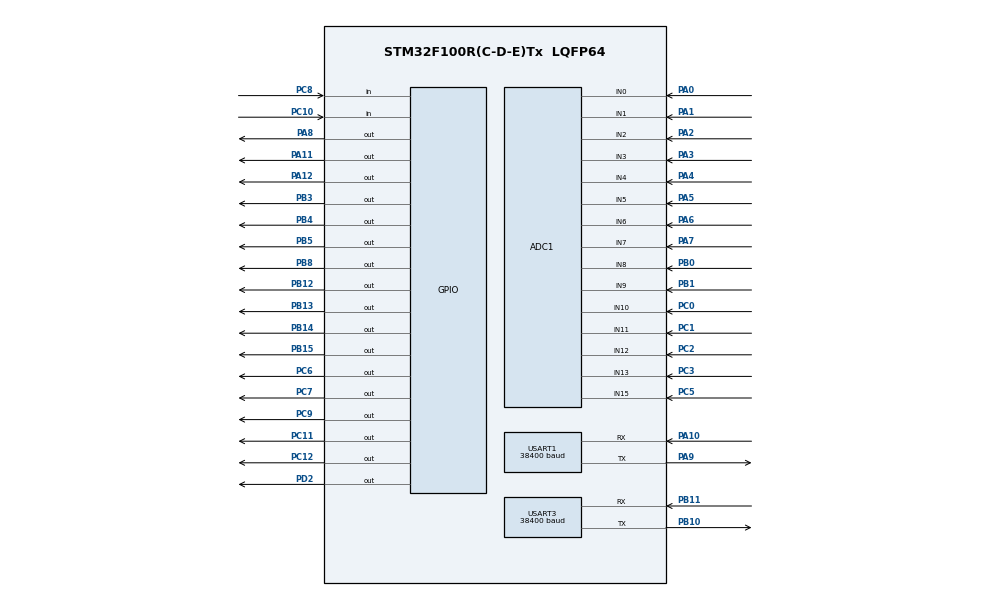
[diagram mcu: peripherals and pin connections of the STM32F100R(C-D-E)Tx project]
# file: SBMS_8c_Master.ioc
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ADC1.Channel-0\#ChannelRegularConversion=ADC_CHANNEL_0
ADC1.Channel-1\#ChannelRegularConversion=ADC_CHANNEL_1
ADC1.Channel-10\#ChannelRegularConversion=ADC_CHANNEL_10
ADC1.Channel-11\#ChannelRegularConversion=ADC_CHANNEL_11
ADC1.Channel-12\#ChannelRegularConversion=ADC_CHANNEL_12
ADC1.Channel-13\#ChannelRegularConversion=ADC_CHANNEL_13
ADC1.Channel-14\#ChannelRegularConversion=ADC_CHANNEL_15
ADC1.Channel-15\#ChannelRegularConversion=ADC_CHANNEL_VREFINT
ADC1.Channel-2\#ChannelRegularConversion=ADC_CHANNEL_2
ADC1.Channel-3\#ChannelRegularConversion=ADC_CHANNEL_3
ADC1.Channel-4\#ChannelRegularConversion=ADC_CHANNEL_4
ADC1.Channel-5\#ChannelRegularConversion=ADC_CHANNEL_5
ADC1.Channel-6\#ChannelRegularConversion=ADC_CHANNEL_6
ADC1.Channel-7\#ChannelRegularConversion=ADC_CHANNEL_7
ADC1.Channel-8\#ChannelRegularConversion=ADC_CHANNEL_8
ADC1.Channel-9\#ChannelRegularConversion=ADC_CHANNEL_9
ADC1.ContinuousConvMode=ENABLE
ADC1.NbrOfConversion=16
ADC1.NbrOfConversionFlag=1
ADC1.Rank-0\#ChannelRegularConversion=1
ADC1.Rank-1\#ChannelRegularConversion=2
ADC1.Rank-10\#ChannelRegularConversion=11
ADC1.Rank-11\#ChannelRegularConversion=12
ADC1.Rank-12\#ChannelRegularConversion=13
ADC1.Rank-13\#ChannelRegularConversion=14
ADC1.Rank-14\#ChannelRegularConversion=15
ADC1.Rank-15\#ChannelRegularConversion=16
ADC1.Rank-2\#ChannelRegularConversion=3
ADC1.Rank-3\#ChannelRegularConversion=4
ADC1.Rank-4\#ChannelRegularConversion=5
ADC1.Rank-5\#ChannelRegularConversion=6
ADC1.Rank-6\#ChannelRegularConversion=7
ADC1.Rank-7\#ChannelRegularConversion=8
ADC1.Rank-8\#ChannelRegularConversion=9
ADC1.Rank-9\#ChannelRegularConversion=10
ADC1.SamplingTime-0\#ChannelRegularConversion=ADC_SAMPLETIME_239CYCLES_5
ADC1.SamplingTime-1\#ChannelRegularConversion=ADC_SAMPLETIME_239CYCLES_5
ADC1.SamplingTime-10\#ChannelRegularConversion=ADC_SAMPLETIME_239CYCLES_5
ADC1.SamplingTime-11\#ChannelRegularConversion=ADC_SAMPLETIME_239CYCLES_5
ADC1.SamplingTime-12\#ChannelRegularConversion=ADC_SAMPLETIME_239CYCLES_5
ADC1.SamplingTime-13\#ChannelRegularConversion=ADC_SAMPLETIME_239CYCLES_5
ADC1.SamplingTime-14\#ChannelRegularConversion=ADC_SAMPLETIME_239CYCLES_5
ADC1.SamplingTime-15\#ChannelRegularConversion=ADC_SAMPLETIME_239CYCLES_5
ADC1.SamplingTime-2\#ChannelRegularConversion=ADC_SAMPLETIME_239CYCLES_5
ADC1.SamplingTime-3\#ChannelRegularConversion=ADC_SAMPLETIME_239CYCLES_5
ADC1.SamplingTime-4\#ChannelRegularConversion=ADC_SAMPLETIME_239CYCLES_5
ADC1.SamplingTime-5\#ChannelRegularConversion=ADC_SAMPLETIME_239CYCLES_5
ADC1.SamplingTime-6\#ChannelRegularConversion=ADC_SAMPLETIME_239CYCLES_5
ADC1.SamplingTime-7\#ChannelRegularConversion=ADC_SAMPLETIME_239CYCLES_5
ADC1.SamplingTime-8\#ChannelRegularConversion=ADC_SAMPLETIME_239CYCLES_5
ADC1.SamplingTime-9\#ChannelRegularConversion=ADC_SAMPLETIME_239CYCLES_5
ADC1.master=1
Dma.ADC1.0.Direction=DMA_PERIPH_TO_MEMORY
Dma.ADC1.0.Instance=DMA1_Channel1
Dma.ADC1.0.MemDataAlignment=DMA_MDATAALIGN_HALFWORD
Dma.ADC1.0.MemInc=DMA_MINC_ENABLE
Dma.ADC1.0.Mode=DMA_CIRCULAR
Dma.ADC1.0.PeriphDataAlignment=DMA_PDATAALIGN_HALFWORD
Dma.ADC1.0.PeriphInc=DMA_PINC_DISABLE
Dma.ADC1.0.Priority=DMA_PRIORITY_LOW
Dma.Request0=ADC1
Mcu.Family=STM32F1
Mcu.Name=STM32F100R(C-D-E)Tx
Mcu.Package=LQFP64
NVIC.DMA1_Channel1_IRQn=true\:0\:0\:false\:false\:true\:false\:true\:true
NVIC.PriorityGroup=NVIC_PRIORITYGROUP_4
NVIC.TIM7_IRQn=true\:0\:0\:false\:false\:true\:true\:true\:true
NVIC.USART1_IRQn=true\:0\:0\:false\:false\:true\:true\:true\:true
NVIC.USART3_IRQn=true\:0\:0\:false\:false\:true\:true\:true\:true
PA0-WKUP.Signal=ADCx_IN0
PA1.Signal=ADCx_IN1
PA10.Mode=Asynchronous
PA10.Signal=USART1_RX
PA11.Signal=GPIO_Output
PA12.Signal=GPIO_Output
PA13.Mode=Serial_Wire
PA13.Signal=SYS_JTMS-SWDIO
PA14.Mode=Serial_Wire
PA14.Signal=SYS_JTCK-SWCLK
PA2.Signal=ADCx_IN2
PA3.Signal=ADCx_IN3
PA4.Signal=ADCx_IN4
PA5.Signal=ADCx_IN5
PA6.Signal=ADCx_IN6
PA7.Signal=ADCx_IN7
PA8.Signal=GPIO_Output
PA9.Mode=Asynchronous
PA9.Signal=USART1_TX
PB0.Signal=ADCx_IN8
PB1.Signal=ADCx_IN9
PB10.Mode=Asynchronous
PB10.Signal=USART3_TX
PB11.Mode=Asynchronous
PB11.Signal=USART3_RX
PB12.Signal=GPIO_Output
PB13.Signal=GPIO_Output
PB14.Signal=GPIO_Output
PB15.Signal=GPIO_Output
PB3.Signal=GPIO_Output
PB4.Signal=GPIO_Output
PB5.Signal=GPIO_Output
PB8.Signal=GPIO_Output
PC0.Signal=ADCx_IN10
PC1.Signal=ADCx_IN11
PC10.GPIO_PuPd=GPIO_PULLUP
PC10.Signal=GPIO_Input
PC11.Signal=GPIO_Output
PC12.Signal=GPIO_Output
PC2.Signal=ADCx_IN12
PC3.Signal=ADCx_IN13
PC5.Signal=ADCx_IN15
PC6.Signal=GPIO_Output
PC7.Signal=GPIO_Output
PC8.Signal=GPIO_Input
PC9.Signal=GPIO_Output
PD0-OSC_IN.Mode=HSE-External-Oscillator
PD0-OSC_IN.Signal=RCC_OSC_IN
PD1-OSC_OUT.Mode=HSE-External-Oscillator
PD1-OSC_OUT.Signal=RCC_OSC_OUT
PD2.Signal=GPIO_Output
ProjectManager.HeapSize=0x200
ProjectManager.StackSize=0x400
ProjectManager.TargetToolchain=STM32CubeIDE
RCC.AHBFreq_Value=24000000
RCC.APB1Freq_Value=24000000
RCC.APB1TimFreq_Value=24000000
RCC.APB2Freq_Value=24000000
RCC.APB2TimFreq_Value=24000000
RCC.HCLKFreq_Value=24000000
RCC.PLLMUL=RCC_PLL_MUL3
RCC.PLLSource=RCC_PLLSOURCE_HSE
RCC.SYSCLKFreq_VALUE=24000000
RCC.SYSCLKSource=RCC_SYSCLKSOURCE_PLLCLK
SH.ADCx_IN0.0=ADC1_IN0,IN0
SH.ADCx_IN1.0=ADC1_IN1,IN1
SH.ADCx_IN10.0=ADC1_IN10,IN10
SH.ADCx_IN11.0=ADC1_IN11,IN11
SH.ADCx_IN12.0=ADC1_IN12,IN12
SH.ADCx_IN13.0=ADC1_IN13,IN13
SH.ADCx_IN15.0=ADC1_IN15,IN15
SH.ADCx_IN2.0=ADC1_IN2,IN2
SH.ADCx_IN3.0=ADC1_IN3,IN3
SH.ADCx_IN4.0=ADC1_IN4,IN4
SH.ADCx_IN5.0=ADC1_IN5,IN5
SH.ADCx_IN6.0=ADC1_IN6,IN6
SH.ADCx_IN7.0=ADC1_IN7,IN7
SH.ADCx_IN8.0=ADC1_IN8,IN8
SH.ADCx_IN9.0=ADC1_IN9,IN9
TIM7.Period=10
TIM7.Prescaler=24000
TIM7.TIM_MasterOutputTrigger=TIM_TRGO_UPDATE
USART1.BaudRate=38400
USART1.VirtualMode=VM_ASYNC
USART3.BaudRate=38400
USART3.VirtualMode=VM_ASYNC
VP_ADC1_TempSens_Input.Mode=IN-TempSens
VP_ADC1_Vref_Input.Mode=IN-Vrefint
VP_TIM7_VS_ClockSourceINT.Mode=Enable_Timer
board=custom

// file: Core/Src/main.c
/* USER CODE BEGIN Header */
/**
  ******************************************************************************
  * @file           : main.c
  * @brief          : Main program body
  ******************************************************************************
  * @attention
  *
  * <h2><center>&copy; Copyright (c) 2021 STMicroelectronics.
  * All rights reserved.</center></h2>
  *
  * This software component is licensed by ST under BSD 3-Clause license,
  * the "License"; You may not use this file except in compliance with the
  * License. You may obtain a copy of the License at:
  *                        opensource.org/licenses/BSD-3-Clause
  *
  ******************************************************************************
  */
/* USER CODE END Header */
#include "main.h"

/* USER CODE BEGIN PM */
#define THRESHOLD2 1500 //Long pressing for buttons
#define THRESHOLD 20 //Debounce for buttons

#define TIMEOUT_OFF 3600 //Sec timeout when device shutdown if no press any button and current < 30mA
#define MIN_CURRENT_OFF 20  //mA

#define CELLS_MIN_VOLTAGE_TIMER_OFF_SEC 5 //sec

#define NUMBER_OF_CELLS 8 //Number of cells
#define MAX_NUMBERS_OF_LEVELS 5// 5 or 10 ..
#define LIFEPO4 1
#define LI_ION 0

#if LIFEPO4
#define MIN_VOLTAGE 280 //270
#define MAX_VOLTAGE 360//3.6v
#define RESISTANCE 10//mOm
#define VOLTAGE_95_PERCENT 335//3.30v
#define VOLTAGE_10_PERCENT 285 //2.85v
#define VOLTAGE_CHARGE_100_PERCENT 360//3.30v
#define VOLTAGE_CHARGE_10_PERCENT 325 //2.85v

#elif LI_ION
#define MIN_VOLTAGE 320//2.8v
#define MAX_VOLTAGE 420//3.6v
#define RESISTANCE 10//mOm
#define VOLTAGE_95_PERCENT 410//3.35v
#define VOLTAGE_10_PERCENT 330 //3.00v
#else
#define MIN_VOLTAGE 280//2.8v
#define MAX_VOLTAGE 365//3.6v
#define VOLTAGE_95_PERCENT 335//3.35v
#define VOLTAGE_10_PERCENT 300 //3.00v

#endif

/* USER CODE END PM */

void SystemClock_Config(void);
static void MX_GPIO_Init(void);
static void MX_ADC1_Init(void);
static void MX_USART1_UART_Init(void);
static void MX_DMA_Init(void);
static void MX_USART3_UART_Init(void);
static void MX_TIM7_Init(void);

/* USER CODE BEGIN 0 */
char Version[] = "SBMS 8c M V1.05";
uint8_t Version_BeforePoint = 1;
uint8_t Version_AfterPoint = 5;
uint8_t HW_Revision = 1;

volatile uint16_t Voltage95Percent;
volatile uint16_t Voltage10Percent;

volatile uint32_t  time_sec = 0;
volatile uint32_t  Timer_Sec = 0;
volatile uint32_t  TimerForReadyMeasurement_ms = 0;
volatile uint8_t  Status_Timer_Sec = 0;
volatile uint32_t  ChargeTimeSec = 0;
volatile uint32_t  DischargeTimeSec = 0;
volatile uint32_t  DischargeTimeSec_Previous = 0;
volatile uint32_t  PowerOffTimesec = 0;
volatile uint32_t  sec = 0;
volatile uint32_t  time_min = 0;
volatile uint32_t  time_hour = 0;
volatile uint32_t BatteryCapacityDischargeCurrent = 0;
volatile uint32_t BatteryCapacityDischargeCurrentAfterPOwerUp = 0;
volatile uint32_t BatteryCapacityCharge = 0;
int16_t i_LogItems=0;

volatile int32_t SumI1 = 0;
volatile int32_t SumI2 = 0;
volatile int32_t SumI3 = 0;
volatile int32_t SumU1 = 0;
volatile int32_t SumU2 = 0;
volatile int32_t SumU3 = 0;
volatile int32_t SumU4 = 0;
volatile int32_t SumU5 = 0;
volatile int32_t SumU6 = 0;
volatile int32_t SumU7 = 0;
volatile int32_t SumU8 = 0;

volatile int16_t SumI1Counter = 0;
volatile int16_t SumI2Counter = 0;
volatile int16_t SumI3Counter = 0;
volatile int16_t SumU1Counter = 0;
volatile int16_t SumU2Counter = 0;
volatile int16_t SumU3Counter = 0;
volatile int16_t SumU4Counter = 0;
volatile int16_t SumU5Counter = 0;
volatile int16_t SumU6Counter = 0;
volatile int16_t SumU7Counter = 0;
volatile int16_t SumU8Counter = 0;
volatile int32_t U_OUTtmp = 0;

void BUT_Debrief(void);
void init_timer6();
uint8_t BUT_GetKey(void);
void Output_OFF();
void Output_ON();
void adc_func();

volatile uint8_t On_off = 0;
volatile uint8_t ChargeStatusForTimer = 0;
volatile uint8_t DisChargeStatusForTimer = 0;
uint32_t ChargeDurationSec;
uint32_t SelectedOptionValue;
uint32_t SelectedOptionValue1;

typedef enum Key_Pressed {
    KEY_BACK=1,
    KEY_NEXT,
    KEY_OK,
    KEY_UP,
	KEY_ACTION
}Key_Pressed_t ;

Key_Pressed_t pressedKey = 0;

void OFF_Itself()
{
	if (EEpromSaveStatus == 0)
	{
		if (BatteryCapacityDischargeCurrent/3600 > 200)
		{
			//SaveData.BatteryCapacityDischargePreviousValue = BatteryCapacityDischargeCurrent;
			//EEpromWrite();
			logInfo("Data saved ");
		}
	}
	EEpromSaveStatus = 1;
	logInfo("OFF All System");
	delay_ms(100);
	GPIOA->BSRR =  GPIO_BSRR_BR11;//OFF CPU

}

void AllBalansirON()
{
	GPIOC->BSRR = GPIO_BSRR_BS7;//Battery 1 Balansir ON
	GPIOC->BSRR = GPIO_BSRR_BS6;//Battery 2 Balansir ON
	GPIOB->BSRR = GPIO_BSRR_BS15;//Battery 3 Balansir ON
	GPIOB->BSRR = GPIO_BSRR_BS14;//Battery 4 Balansir ON
	GPIOB->BSRR = GPIO_BSRR_BS13;//Battery 5 Balansir ON
	GPIOB->BSRR = GPIO_BSRR_BS12;//Battery 6 Balansir ON
	GPIOB->BSRR = GPIO_BSRR_BS8;//Battery 7 Balansir ON
	GPIOB->BSRR = GPIO_BSRR_BS5;//Battery 8 Balansir ON

}
void AllBalansirOFF()
{
	GPIOC->BSRR = GPIO_BSRR_BR7;//Battery 1 Balansir OFF
	GPIOC->BSRR = GPIO_BSRR_BR6;//Battery 2 Balansir OFF
	GPIOB->BSRR = GPIO_BSRR_BR15;//Battery 3 Balansir OFF
	GPIOB->BSRR = GPIO_BSRR_BR14;//Battery 4 Balansir OFF
	GPIOB->BSRR = GPIO_BSRR_BR13;//Battery 5 Balansir OFF
	GPIOB->BSRR = GPIO_BSRR_BR12;//Battery 6 Balansir OFF
	GPIOB->BSRR = GPIO_BSRR_BR8;//Battery 7 Balansir OFF
	GPIOB->BSRR = GPIO_BSRR_BR5;//Battery 8 Balansir OFF
}

#define DEBAUNCE 3  //3 - 30mV
#define DEBAUNCE_FAIL 2 //1 - 10mV
void Balansir_handler()
{
	if(CellsDatabase[0].Voltage>(MAX_VOLTAGE+DEBAUNCE)) GPIOC->BSRR = GPIO_BSRR_BS7;//Battery 1 Balansir ON
	if(CellsDatabase[0].Voltage<(MAX_VOLTAGE-1)) GPIOC->BSRR = GPIO_BSRR_BR7;//Battery 1 Balansir OFF

	if(CellsDatabase[1].Voltage>(MAX_VOLTAGE+DEBAUNCE)) GPIOC->BSRR = GPIO_BSRR_BS6;//Battery 2 Balansir ON
	if(CellsDatabase[1].Voltage<(MAX_VOLTAGE-1)) GPIOC->BSRR = GPIO_BSRR_BR6;//Battery 2 Balansir OFF

	if(CellsDatabase[2].Voltage>(MAX_VOLTAGE+DEBAUNCE)) GPIOB->BSRR = GPIO_BSRR_BS15;//Battery 3 Balansir ON
	if(CellsDatabase[2].Voltage<(MAX_VOLTAGE-1)) GPIOB->BSRR = GPIO_BSRR_BR15;//Battery 3 Balansir OFF

	if(CellsDatabase[3].Voltage>(MAX_VOLTAGE+DEBAUNCE)) GPIOB->BSRR = GPIO_BSRR_BS14;//Battery 4 Balansir ON
	if(CellsDatabase[3].Voltage<(MAX_VOLTAGE-1)) GPIOB->BSRR = GPIO_BSRR_BR14;//Battery 4 Balansir OFF

	if(CellsDatabase[4].Voltage>(MAX_VOLTAGE+DEBAUNCE)) GPIOB->BSRR = GPIO_BSRR_BS13;//Battery 5 Balansir ON
	if(CellsDatabase[4].Voltage<(MAX_VOLTAGE-1)) GPIOB->BSRR = GPIO_BSRR_BR13;//Battery 5 Balansir OFF

	if(CellsDatabase[5].Voltage>(MAX_VOLTAGE+DEBAUNCE)) GPIOB->BSRR = GPIO_BSRR_BS12;//Battery 6 Balansir ON
	if(CellsDatabase[5].Voltage<(MAX_VOLTAGE-1)) GPIOB->BSRR = GPIO_BSRR_BR12;//Battery 6 Balansir OFF

	if(CellsDatabase[6].Voltage>(MAX_VOLTAGE+DEBAUNCE)) GPIOB->BSRR = GPIO_BSRR_BS8;//Battery 7 Balansir ON
	if(CellsDatabase[6].Voltage<(MAX_VOLTAGE-1)) GPIOB->BSRR = GPIO_BSRR_BR8;//Battery 7 Balansir OFF

	if(CellsDatabase[7].Voltage>(MAX_VOLTAGE+DEBAUNCE)) GPIOB->BSRR = GPIO_BSRR_BS5;//Battery 8 Balansir ON
	if(CellsDatabase[7].Voltage<(MAX_VOLTAGE-1)) GPIOB->BSRR = GPIO_BSRR_BR5;//Battery 8 Balansir OFF

	volatile uint8_t i = 0;
	volatile uint8_t RestoreVoltageBeforeUmax  = 0;
	for(i=0;i<ID_MAX_COUNT;i++)
	{
		if(CellsDatabase[i].Voltage>(MAX_VOLTAGE+DEBAUNCE+DEBAUNCE_FAIL))
		{
			Output_OFF();
			OverChargeStatus=1;
			logDebugD("OverCharge B",i+1,0);
		}
		if(CellsDatabase[i].Voltage <= (MAX_VOLTAGE))
		{
			RestoreVoltageBeforeUmax++;
		}

	}

	if((OverChargeStatus==1)&&(RestoreVoltageBeforeUmax == i)&&(OverDisChargeStatus==0)&&(CurrentShortStatus==0))
	{
		Output_ON();
		OverChargeStatus=0;
		logDebug("No OverCharge - Output_ON");
	}

}
void MinVoltage_handler()
{
	volatile uint8_t i = 0;
	volatile uint8_t RestoreVoltageonCells = 0;
	for(i=0;i<ID_MAX_COUNT;i++)
	{
		//logDebugD("i ",i+1,0);
		//logDebugD("CellsDatabase[i].Voltage ",CellsDatabase[i].Voltage,2);
		//logDebugD("Res ",(RESISTANCE*Module32(Battery.Current))/1000,2);
		//logDebugD("xxx ",(MIN_VOLTAGE - (RESISTANCE*Module32(Battery.Current))/1000),2);
		if(CellsDatabase[i].Voltage < (MIN_VOLTAGE - (RESISTANCE*Module32(Battery.Current))/1000))
		{
			if(CellsDatabase[i].BatVoltLowerMin_Status==0)
			{
				CellsDatabase[i].TimeSec = time_sec;
				CellsDatabase[i].BatVoltLowerMin_Status=1;
			}
		}
		else
		{
			CellsDatabase[i].BatVoltLowerMin_Status=0;
			RestoreVoltageonCells++;
		}

		if (CellsDatabase[i].BatVoltLowerMin_Status==1)
			if((time_sec-CellsDatabase[i].TimeSec)>CELLS_MIN_VOLTAGE_TIMER_OFF_SEC)
			{
				OverDisChargeStatus = 1;
				Output_OFF();
				Battery.BatteryLevel = LOW_BATTERY;
				logDebugD("OFF. Min voltage ",i+1,0);
			}
	}

	if((OverDisChargeStatus==1)&&(RestoreVoltageonCells==i)&&(OverChargeStatus==0)&&(CurrentShortStatus==0))
	{
		Output_ON();
		OverDisChargeStatus=0;
		Battery.BatteryLevel = BATTERY_OK;
		logDebugD("ON. B V > min V ",i+1,0);
	}
}
void OffByTimeOutIfNoAction_handler()
{
	if(PowerOffTimesec>TIMEOUT_OFF)
	{
		OFF_Itself();
	}
}

void RestoreAfterCurrentShort()
{
	if (CurrentShortStatus==1)
		CurrentShortTimer++;
	if ((CurrentShortTimer>5)&&(OverChargeStatus==0)&&(OverDisChargeStatus==0))
	{
		Output_ON();
		CurrentShortTimer=0;
		CurrentShortStatus = 0;
	}

}

uint8_t flash = 1;
uint32_t FlashVoltage =0 ;
int32_t step;
void VoltageLevelByLEDFlash()
{

   if (Battery.Voltage <= ID_MAX_COUNT*MIN_VOLTAGE) GPIOB->BSRR =  GPIO_BSRR_BR3;//LED OFF always
   else
   {
    	step =(10*ID_MAX_COUNT*(Voltage95Percent - Voltage10Percent))/100;//~30
		if (Battery.Voltage*10>FlashVoltage)
		{
			GPIOB->BSRR =  GPIO_BSRR_BS3;
		}else
		{
			GPIOB->BSRR =  GPIO_BSRR_BR3;
		}
		FlashVoltage = FlashVoltage+step;
		if (FlashVoltage>Voltage95Percent*ID_MAX_COUNT*10) FlashVoltage=Voltage10Percent*ID_MAX_COUNT*10;
   }

}

int16_t comp = 0;
void BUT_Debrief(void)
{
	Key_Pressed_t key;

	if (!LL_GPIO_IsInputPinSet(GPIOC, LL_GPIO_PIN_10))
		key = KEY_ACTION;
	//else if (!LL_GPIO_IsInputPinSet(GPIOB,LL_GPIO_PIN_5))
	//	key = KEY_NEXT;
	//else if (!LL_GPIO_IsInputPinSet(GPIOB,LL_GPIO_PIN_6))
	//	key = KEY_BACK;

	else
	{
		key = 0;
	}

	if (key)
	{
		if (comp > THRESHOLD2)
		{
			comp = THRESHOLD2 - 40;
			pressedKey = key;
			return;
		}
		else comp++;

		if (comp == THRESHOLD)
			{
			pressedKey = key;
			return;
		}
	}
	else comp=0;
}

Key_Pressed_t BUT_GetKey(void)
{
	if (pressedKey) PowerOffTimesec=0;
	Key_Pressed_t key = pressedKey;
	pressedKey = 0;
	return key;
}

void Start_Timer_sec()
{
	Timer_Sec = 0;
	Status_Timer_Sec = 1;
}
void ReStart_Timer_sec()
{
	Timer_Sec = 0;
	Status_Timer_Sec = 1;
}
void Stop_Timer_sec()
{

	Status_Timer_Sec = 0;

}

void SysTick_Callback()//1 mc
{
	BUT_Debrief();
	TimerForReadyMeasurement_ms++;

	//5mc
	if (Count5mSecond >= 5)
	{
		Count5mSecond = 0;

		adc_func();

	}
	//10mc
	if (Count10mSecond >= 10)
	{
		Count10mSecond = 0;
		VoltageLevelByLEDFlash();

	}
	//100mc
	if (Count100mSecond >= 100)
	{
		Count100mSecond = 0;

		if (Module16( Battery.Current) > 0  || OverChargeStatus == 1 )
			PowerOffTimesec = 0;
	}
	//1000mc  1c
	if (Count1000mSecond >= 1000)
	{
		Count1000mSecond = 0;

		OffByTimeOutIfNoAction_handler();
		PowerOffTimesec++;

		if (time_sec < 4)
			AllBalansirON();
		else
			Balansir_handler();

		MinVoltage_handler();

		if (Current < 2)
			BatteryCapacityDischargeCurrent = BatteryCapacityDischargeCurrent + Module16(Current);
		if (Current > 2)
			BatteryCapacityCharge = BatteryCapacityCharge + Module16(Current);
		if (ChargeStatusForTimer == 1)
			ChargeTimeSec++;
		if (DisChargeStatusForTimer == 1)
			DischargeTimeSec++;
		//Global timer
		if (Status_Timer_Sec == 1)
			Timer_Sec++;
		time_sec++;

		//if (time_sec%2==0) GPIOB->BSRR =  GPIO_BSRR_BS4;// Battery level
		//else GPIOB->BSRR =  GPIO_BSRR_BR4;

		if (Battery.BatteryLevel == LOW_BATTERY)
		{
			//if (time_sec%2==0) GPIOB->BSRR =  GPIO_BSRR_BS6;//Fault
			//else GPIOB->BSRR =  GPIO_BSRR_BR6;

			GPIOD->BSRR =  GPIO_BSRR_BS2;//Fault
		}
		else
		{
			GPIOD->BSRR =  GPIO_BSRR_BR2;
		}

		if (OverChargeStatus == 1)
		{
			GPIOD->BSRR =  GPIO_BSRR_BS2;//Fault
		}else
		{
			GPIOD->BSRR =  GPIO_BSRR_BR2;
		}

		//if (time_sec%2==0) GPIOB->BSRR =  GPIO_BSRR_BS7;//Charge/ Discharge
		//else GPIOB->BSRR =  GPIO_BSRR_BR7;

		//if (time_sec%2==0) GPIOB->BSRR =  GPIO_BSRR_BS8;
		//else GPIOB->BSRR =  GPIO_BSRR_BR8;

		//if (time_sec%10==0) Output_ON();
		//if (time_sec%15==0) Output_OFF();

		if (Battery.Current>2)
		{
			Voltage95Percent = VOLTAGE_CHARGE_100_PERCENT;
			Voltage10Percent = VOLTAGE_CHARGE_10_PERCENT;
		}
		else
		{
			Voltage95Percent = VOLTAGE_95_PERCENT;
			Voltage10Percent = VOLTAGE_10_PERCENT;
		}
	}
	Count5mSecond++;
	Count10mSecond++;
	Count100mSecond++;
	Count1000mSecond++;
}

void adc_func()
{
	  /**ADC1 GPIO Configuration
	  PC0   ------> ADC1_IN10 b8
	  PC1   ------> ADC1_IN11 b7
	  PC2   ------> ADC1_IN12 b6
	  PC3   ------> ADC1_IN13 b5
	  PA0-WKUP  --> ADC1_IN0 b4
	  PA1   ------> ADC1_IN1 b3
	  PA2   ------> ADC1_IN2 Rtb [2]
	  PA3   ------> ADC1_IN3 b2
	  PA4   ------> ADC1_IN4 b1
	  PA5   ------> ADC1_IN5 I
	  PA6   ------> ADC1_IN6 I
	  PA7   ------> ADC1_IN7 M1 [7]
	                                            delPC4   ------> ADC1_IN14 M2out
	  PC5   ------> ADC1_IN15 Rtm  [14]
	  PB1   ------> ADC1_IN9 M2out [9]
	  PB0  -------> ADC1_IN8 Rtbattery [8]
	  */

	//4  [4] B1
	//3  [3] B2
	//1  [1] B3
	//0  [0] B4
	//13 [13] B5
	//12 [12] B6
	//11 [11] B7
	//10 [10] B8
	//6  [6] I
	//5  [5] I
//	Vref [15]

	volatile int32_t Ut = 0;
	volatile int32_t It = 0;
	volatile int32_t Ut_m = 0;
	volatile int32_t It_m = 0;
	#define NUM_READ 32
	//LL_DMA_DisableChannel(DMA1,LL_DMA_CHANNEL_1);

	U_Controller = 491520 / RegularConvData[15];// Uref V/10;  1200 * 4096/ChVref

	It = (RegularConvData[6] * CalibrationData.CalibrationValueForCurrent1) / RegularConvData[15] ;//  Current
	It_m = It;//middle_of_3Imax1(It);
	SumI1 =SumI1 + RunningAverageI1(It_m);
	SumI1Counter ++;
	if (SumI1Counter >= NUM_READ)
	{
		Battery.Current_Load = SumI1/NUM_READ;
		SumI1Counter = 0;
		SumI1 = 0;
	}

	It= (RegularConvData[5] * CalibrationData.CalibrationValueForCurrent2) / RegularConvData[15] ;//  Current
	It_m =It;// middle_of_3Imax2(It);
	SumI2 =SumI2 + RunningAverageI2(It_m);
	SumI2Counter ++;
	if (SumI2Counter >= NUM_READ)
	{
		Battery.Current_Charge = SumI2/NUM_READ;
		SumI2Counter = 0;
		SumI2 = 0;
	}

	Ut= (RegularConvData[4] * CalibrationData.CalibrationValueForVoltage1) / RegularConvData[15];
	Ut_m = Ut;//middle_of_3Umax1(Ut);
	SumU1 =SumU1 + RunningAverageU1(Ut_m);
	SumU1Counter ++;
	if (SumU1Counter >= NUM_READ)
	{
		CellsDatabase[0].Voltage = SumU1/NUM_READ;
		SumU1Counter = 0;
		SumU1 = 0;
	}

	Ut = (RegularConvData[3] * CalibrationData.CalibrationValueForVoltage2) / RegularConvData[15];
	Ut_m = Ut;//middle_of_3Umax2(Ut);
	SumU2 = SumU2 + RunningAverageU2(Ut_m);
	SumU2Counter ++;
	if (SumU2Counter >= NUM_READ)
	{
		CellsDatabase[1].Voltage = SumU2/NUM_READ;
		SumU2Counter = 0;
		SumU2 = 0;
	}

	Ut = (RegularConvData[1] * CalibrationData.CalibrationValueForVoltage3) / RegularConvData[15];//
	Ut_m = Ut;//middle_of_3Umax3(Ut);
	SumU3 =SumU3 + RunningAverageU3(Ut_m);
	SumU3Counter ++;
	if (SumU3Counter >=NUM_READ)
	{
		CellsDatabase[2].Voltage = SumU3/NUM_READ;
		SumU3Counter = 0;
		SumU3 = 0;
	}

	Ut = (RegularConvData[0] * CalibrationData.CalibrationValueForVoltage4) / RegularConvData[15];
	Ut_m = Ut;
	SumU4 =SumU4 + RunningAverageU4(Ut_m);
	SumU4Counter ++;
	if (SumU4Counter >=NUM_READ)
	{
		CellsDatabase[3].Voltage = SumU4/NUM_READ;
		SumU4Counter = 0;
		SumU4 = 0;
	}

	Ut = (RegularConvData[13] * CalibrationData.CalibrationValueForVoltage5) / RegularConvData[15];
	Ut_m = Ut;
	SumU5 =SumU5 + RunningAverageU5(Ut_m);
	SumU5Counter ++;
	if (SumU5Counter >=NUM_READ)
	{
		CellsDatabase[4].Voltage = SumU5/NUM_READ;
		SumU5Counter = 0;
		SumU5 = 0;
	}

	Ut = (RegularConvData[12] * CalibrationData.CalibrationValueForVoltage6) / RegularConvData[15];//
	Ut_m = Ut;
	SumU6 =SumU6 + RunningAverageU6(Ut_m);
	SumU6Counter ++;
	if (SumU6Counter >=NUM_READ)
	{
		CellsDatabase[5].Voltage = SumU6/NUM_READ;
		SumU6Counter = 0;
		SumU6 = 0;
	}

	Ut = (RegularConvData[11] * CalibrationData.CalibrationValueForVoltage7) / RegularConvData[15];
	Ut_m = Ut;
	SumU7 =SumU7 + RunningAverageU7(Ut_m);
	SumU7Counter ++;
	if (SumU7Counter >=NUM_READ)
	{
		CellsDatabase[6].Voltage = SumU7/NUM_READ;
		SumU7Counter = 0;
		SumU7 = 0;
	}

	Ut = (RegularConvData[10] * CalibrationData.CalibrationValueForVoltage7) / RegularConvData[15];
	Ut_m = Ut;
	SumU8 =SumU8 + RunningAverageU8(Ut_m);
	SumU8Counter ++;
	if (SumU8Counter >=NUM_READ)
	{
		CellsDatabase[7].Voltage = SumU8/NUM_READ;
		SumU8Counter = 0;
		SumU8 = 0;
	}

	uint8_t i = 0;
	uint16_t Volt = 0;
	for(i=0;i<ID_MAX_COUNT;i++)
	{
		Volt = Volt + CellsDatabase[i].Voltage;
	}
	Battery.Voltage = Volt;
	Battery.Current = 0;
	if (Battery.Current_Charge > 2) Battery.Current = Battery.Current_Charge;
	if (Battery.Current_Load > 2) Battery.Current = Battery.Current_Load * (-1);

	Battery.BalansirTemperature = RegularConvData[2]/20;
	Battery.MosfetsTemperature = RegularConvData[14]/20;
	Battery.BatteryTemperature = RegularConvData[8]/20;

	Battery.Gate1Voltage_NearShunt = 1400 * RegularConvData[7]/RegularConvData[15];
	Battery.Gate2Voltage_NearOUT = 1400 * RegularConvData[9]/RegularConvData[15];

	 //LL_DMA_EnableChannel(DMA1,LL_DMA_CHANNEL_1);
}

//PACKAGE_BEGIN
//[0]LEN -  Number of data bytes · Not including LEN byte · Including CS and EOM
//[1]Command - Read Write Exec
//[2]Screen
//[] Data - several bytes
//[] CS · Checksum is a sum up of all bytes within the message frame · Sum is computed in an 8-bit counter · CS and EOM are not included in the checksum
//[] EOM End of Message 1 0x0A

#define READ_DATA 0xFA
#define WRITE_DATA 0xFB
#define COMMAND_EXEC 0xFC

//READ_DATA
#define SYSTEM_INFO 8
#define SETTINGS_SCREEN 10
#define MAIN_SCREEN 20
#define CHARGE_SCREEN 30
#define DISCHARGE_SCREEN 40
#define COMMANDS_SCREEN 50
#define DIAGNOSTIC_SCREEN 60
#define LOG_SCREEN 70
#define CALIBRATION_SCREEN 80
#define FACTORY_SCREEN 90

#define DATALENGTH_MAX 30
struct MasterSlave_struct
{
	volatile uint8_t Package[DATALENGTH_MAX];
	volatile uint8_t Data_length;
	volatile uint8_t DataCRC;
	volatile uint8_t DataCRC_Calc;
	volatile uint8_t ReadWriteCommand;
};

struct MasterSlave_struct Slave;
struct MasterSlave_struct Master;

struct RequestFromClientToSrv_struct
{
	volatile uint8_t Data_length;
	volatile uint8_t DataCRC;
	volatile uint8_t DataCRC_Calc;
	volatile uint8_t Data[DATALENGTH_MAX];
};

struct AnswerFromSrvToClient_struct
{
	volatile uint8_t Package[DATALENGTH_MAX+4];
	volatile uint8_t Data_length;
	volatile uint8_t DataCRC;
	volatile uint8_t Data[DATALENGTH_MAX];
};
struct RequestFromClientToSrv_struct RequestFromClientToSrv;
struct AnswerFromSrvToClient_struct  AnswerFromSrvToClient;

uint16_t var_16=0;
uint8_t *arrayPointer_16 = (uint8_t*) &var_16;

uint16_t var_u16=0;
uint8_t *arrayPointer_u16 = (uint8_t*) &var_u16;
void MainScreenAnswer()
{

	arrayPointer_u16 = (uint8_t*) &Battery.Voltage;
	Master.Package[4]=arrayPointer_u16[0];
	Master.Package[5]=arrayPointer_u16[1];

	arrayPointer_16 = (uint8_t*) &Battery.Current;
	Master.Package[6]=arrayPointer_16[0];
	Master.Package[7]=arrayPointer_16[1];

	arrayPointer_u16 = (uint8_t*) &CellsDatabase[0].Voltage;
	Master.Package[8]=arrayPointer_u16[0];
	Master.Package[9]=arrayPointer_u16[1];

	arrayPointer_u16 = (uint8_t*) &CellsDatabase[1].Voltage;
	Master.Package[10]=arrayPointer_u16[0];
	Master.Package[11]=arrayPointer_u16[1];

	arrayPointer_u16 = (uint8_t*) &CellsDatabase[2].Voltage;
	Master.Package[12]=arrayPointer_u16[0];
	Master.Package[13]=arrayPointer_u16[1];

	arrayPointer_u16 = (uint8_t*) &CellsDatabase[3].Voltage;
	Master.Package[14]=arrayPointer_u16[0];
	Master.Package[15]=arrayPointer_u16[1];

	if (NUMBER_OF_CELLS == 4)
	{
		Master.Package[16]=95;
		Master.Package[17]=Battery.Out_On_Off;
		Master.Data_length = 19-1;
		Master.DataCRC = calcCRC(Master.Package, Master.Data_length, 0);
		Master.Package[18] = Master.DataCRC;
		Master.Package[19] = 0x0A;
		putDataInBufferUart2(Master.Package,Master.Data_length+2);
	}

	if (NUMBER_OF_CELLS == 8)
	{
		arrayPointer_u16 = (uint8_t*) &CellsDatabase[4].Voltage;
		Master.Package[16]=arrayPointer_u16[0];
		Master.Package[17]=arrayPointer_u16[1];

		arrayPointer_u16 = (uint8_t*) &CellsDatabase[5].Voltage;
		Master.Package[18]=arrayPointer_u16[0];
		Master.Package[19]=arrayPointer_u16[1];

		arrayPointer_u16 = (uint8_t*) &CellsDatabase[6].Voltage;
		Master.Package[20]=arrayPointer_u16[0];
		Master.Package[21]=arrayPointer_u16[1];

		arrayPointer_u16 = (uint8_t*) &CellsDatabase[7].Voltage;
		Master.Package[22]=arrayPointer_u16[0];
		Master.Package[23]=arrayPointer_u16[1];

		Master.Package[24]=95;
		Master.Package[25]=Battery.Out_On_Off;
		Master.Data_length = 27-1;

		Master.DataCRC = calcCRC(Master.Package, Master.Data_length, 0);
		Master.Package[26] = Master.DataCRC;
		Master.Package[27] = 0x0A;
		putDataInBufferUart2(Master.Package,Master.Data_length+2);

	}

	Master.Package[0] = PACKAGE_BEGIN;
	Master.Package[1] = Master.Data_length;
	Master.Package[2] = READ_DATA;
	Master.Package[3] = MAIN_SCREEN;

}

void DiagnosticScreenAnswer()
{

	Master.Package[4]=Battery.BalansirTemperature;
	Master.Package[5]=Battery.MosfetsTemperature;
	Master.Package[6]=Battery.BatteryTemperature;

	arrayPointer_u16 = (uint8_t*) &Battery.Gate1Voltage_NearShunt;
	Master.Package[7]=arrayPointer_u16[0];
	Master.Package[8]=arrayPointer_u16[1];

	arrayPointer_u16 = (uint8_t*) &Battery.Gate2Voltage_NearOUT;
	Master.Package[9]=arrayPointer_u16[0];
	Master.Package[10]=arrayPointer_u16[1];

	Master.Package[11]=0;
	Master.Package[12]=0;
	Master.Package[13]=0;

	Master.Data_length = 15-1;

	Master.Package[0] = PACKAGE_BEGIN;
	Master.Package[1] = Master.Data_length;
	Master.Package[2] = READ_DATA;
	Master.Package[3] = DIAGNOSTIC_SCREEN;
	Master.DataCRC = calcCRC(Master.Package, Master.Data_length, 0);
	Master.Package[14] = Master.DataCRC;
	Master.Package[15] = 0x0A;
	putDataInBufferUart2(Master.Package,Master.Data_length+2);
}

void SystemInfoAnswer()
{
	Master.Package[4]=Version_BeforePoint;
	Master.Package[5]=Version_AfterPoint;
	Master.Package[6]=1;// 1- LIFEPO4, 2 - LIon
	Master.Package[7]=NUMBER_OF_CELLS;
	Master.Package[8]=HW_Revision;
	Master.Package[9]=0;
	Master.Package[10]=0;
	Master.Package[11]=0;
	Master.Package[12]=0;
	Master.Package[13]=0;

	Master.Data_length = 15-1;

	Master.Package[0] = PACKAGE_BEGIN;
	Master.Package[1] = Master.Data_length;
	Master.Package[2] = READ_DATA;
	Master.Package[3] = SYSTEM_INFO;
	Master.DataCRC = calcCRC(Master.Package, Master.Data_length, 0);
	Master.Package[14] = Master.DataCRC;
	Master.Package[15] = 0x0A;
	putDataInBufferUart2(Master.Package,Master.Data_length+2);
}

void TIM7_Callback()
{

	//logDebugD("l=",bufferUart1.rx_counter,0);
	//logDebugD("Le=",ParsingData.IsPassedPackageLengthFlag,0);
	//logDebugD("PB=",ParsingData.IsPassedPackageBeginFlag,0);
	//logDebugD("RE=",ParsingData.IsDataReadyReadFromBuffer,0)
	if (ParsingData.IsDataReadyReadFromBuffer == 1)
	{
		if ( (getCharFromBufferUART2() == PACKAGE_BEGIN) )
		{
			ParsingData.IsDataReadyReadFromBuffer = 0;
			//logDebug("PACKAGE_BEGIN");
			//logDebugD("l=",bufferUart1.rx_counter,0);

			Slave.Data_length = getCharFromBufferUART2();
			Slave.Package[0] = PACKAGE_BEGIN;
			Slave.Package[1] = Slave.Data_length;
			//logDebugD("Slave.Data_length  ",Slave.Data_length,0);
			if (Slave.Data_length <= DATALENGTH_MAX)
			{
				uint8_t i=0;
				for(i = 2; i<=Slave.Data_length+1;i++)
				{
					Slave.Package[i] = getCharFromBufferUART2();
					//logDebugD("pack ",Slave.Package[i],0)
				}
				Slave.DataCRC = Slave.Package[i-2];
				//logDebugD("CRC1",Slave.Package[i-2],0);
				//logDebugD("CRC2",Slave.Package[i-1],0);
				Slave.DataCRC_Calc = calcCRC(Slave.Package, Slave.Data_length, 0);
				if (Slave.DataCRC_Calc == Slave.DataCRC)
				{
					//logDebug("CRC OK");
					if (Slave.Package[2] == READ_DATA)
					{
						//logDebug("READ Command");
						if(Slave.Package[3] == MAIN_SCREEN)
						{
							//logDebug("MAIN_SCREEN");
							MainScreenAnswer();
						}
						if(Slave.Package[3] == SYSTEM_INFO)
						{
							logDebug("SYSTEM_INFO");
							SystemInfoAnswer();
						}
						if(Slave.Package[3] == DIAGNOSTIC_SCREEN)
						{
							logDebug("DiagnosticScreenAnswer");
							DiagnosticScreenAnswer();
						}

					}
				}//CRC
			}//DATALENGTH_MAX
		}//PACKAGE_BEGIN
	}//ParsingData.IsDataReadyReadFromBuffer
}//f

void Output_ON()
{
    GPIOA->BSRR =  GPIO_BSRR_BS8;//ON OUT
    logDebug("out on");
    Battery.Out_On_Off = ON;
}
void Output_OFF()
{
    GPIOA->BSRR =  GPIO_BSRR_BR8;//ON OUT
    logDebug("out off");
    Battery.Out_On_Off = OFF;
}
void InverseOUT()
{
	if (Battery.Out_On_Off == OFF)
	{
		Output_ON();
	}
	else
	{
		Output_OFF();
	}
}
/* USER CODE END 0 */

int main(void)
{

  /* MCU Configuration--------------------------------------------------------*/

  /* Reset of all peripherals, Initializes the Flash interface and the Systick. */
  LL_APB2_GRP1_EnableClock(LL_APB2_GRP1_PERIPH_AFIO);
  LL_APB1_GRP1_EnableClock(LL_APB1_GRP1_PERIPH_PWR);

  /* System interrupt init*/
  NVIC_SetPriorityGrouping(NVIC_PRIORITYGROUP_4);

  /* SysTick_IRQn interrupt configuration */
  NVIC_SetPriority(SysTick_IRQn, NVIC_EncodePriority(NVIC_GetPriorityGrouping(),15, 0));

  /** NOJTAG: JTAG-DP Disabled and SW-DP Enabled
  */
  LL_GPIO_AF_Remap_SWJ_NOJTAG();

  /* Configure the system clock */
  SystemClock_Config();

  /* Initialize all configured peripherals */
  MX_GPIO_Init();

  MX_USART1_UART_Init();
  MX_DMA_Init();
  MX_ADC1_Init();
  MX_USART3_UART_Init();
  MX_TIM7_Init();
  /* USER CODE BEGIN 2 */
  SystemCoreClockUpdate();
  SysTick_Config(SystemCoreClock/1000);//SystemCoreClock/1000 - 1mc

	LoggingData.RecordsQuantity= 0;
	uint8_t EEpromReadStatus;

	delay_ms(100);
   GPIOA->BSRR =  GPIO_BSRR_BS11;//ON CPU
   GPIOA->BSRR =  GPIO_BSRR_BS12;//12 V for
   GPIOB->BSRR =  GPIO_BSRR_BS4;//12 V for
   Battery.BatteryLevel = BATTERY_OK;
   Battery.Out_On_Off = OFF;
   logDebug("System ON");
	FlashVoltage = Voltage10Percent*ID_MAX_COUNT*10;

  FactoryWriteToFlash_CRC();
	delay_ms(1000);

	flash_read_block();

	if (LoggingData.RecordsQuantity>=MAX_LOG_ITEMS) LoggingData.RecordsQuantity = 0;
	EEpromReadStatus = ReadFromFlash();
	if (EEpromReadStatus==0)
	{
		delay_ms(1000);
		EEpromReadStatus = ReadFromFlash();
		logInfo("Read from EEprom - FAIL");
	}
	if (EEpromReadStatus == 0)
	{

		delay_ms(4000);
		WriteInLOG("EEprmReadFAIL");
		logInfo("Read from EEprom - FAIL");
	}
	if (EEpromReadStatus == 1)
		logInfo("Read from EEprom - SUCCESS");

  BatteryCapacityDischargeCurrentAfterPOwerUp = SaveDataWhenPowerOff.BatteryCapacityDischargeCurrent;
  ChargeDurationSec = SettingsData.ChargeTime*3600;
  SelectedOptionValue = SettingsData.Option1;
  SelectedOptionValue1 = SettingsData.Option2;
 // Generation_Coefficients_R_A_B();
  InfoToUARTBeforeStart();
  logInfo(Version);
  delay_ms(1000);

  //Output_ON();
  //logDebug("OUTPUT ON");
  //printToBufferUART1("Hello");

//	  GPIOC->BSRR =  GPIO_BSRR_BS15;

  Key_Pressed_t Key;
  /* USER CODE END 2 */

  /* Infinite loop */
  while (1)
  {

    /* USER CODE BEGIN 3 */
	  Key = BUT_GetKey();
	  if (Key == KEY_ACTION)
		  InverseOUT();
/*
	  if (LL_GPIO_IsInputPinSet(GPIOC, LL_GPIO_PIN_14))
	  {
		   logDebug("Short");
		  delay_ms(1000);
		  GPIOC->BSRR =  GPIO_BSRR_BR15;//restore current short
		  delay_ms(10);
		  GPIOC->BSRR =  GPIO_BSRR_BS15;
	  }
	  */
	  /*
		f1 = SysTick->VAL;
		  logDebugD("f1 ",f1,0);
		  logDebugD("f2 ",f2,0);
		  logDebugD("f1-f2 ",f1-f2,0);
*/

		//4  [4] B1
		//3  [3] B2
		//1  [1] B3
		//0  [0] B4
		//13 [12] B5
		//12 [11] B6
		//11 [10] B7
		//10 [9] B8
		//6  [6] I
		//5  [5] I
	//	Vref [15]

	  logDebugD("sec ",time_sec,0);
	  logDebugD("PowerOffTimesec ",PowerOffTimesec,0);
	  logDebugD("[6] ", RegularConvData[6],0);
	  logDebugD("I charge ", Battery.Current_Load,2);
	  logDebugD("[5] ", RegularConvData[5],0);
	  logDebugD("I Discharge ", Battery.Current_Charge,2);

	  /*
	  logDebugD("[4] ", RegularConvData[4],0);
	  logDebugD("B1 ", CellsDatabase[0].Voltage,2);
	  logDebugD("[3] ", RegularConvData[3],0);
	  logDebugD("B2 ", CellsDatabase[1].Voltage,2);
	  logDebugD("[1] ", RegularConvData[1],0);
	  logDebugD("B3 ", CellsDatabase[2].Voltage,2);
	  logDebugD("[0] ", RegularConvData[0],0);
	  logDebugD("B4 ", CellsDatabase[3].Voltage,2);
	  logDebugD("[12] ", RegularConvData[12],0);
	  logDebugD("B5 ", CellsDatabase[4].Voltage,2);
	  logDebugD("[11] ", RegularConvData[11],0);
	  logDebugD("B6 ", CellsDatabase[5].Voltage,2);
	  logDebugD("[10] ", RegularConvData[10],0);
	  logDebugD("B7 ", CellsDatabase[6].Voltage,2);
	  logDebugD("[9] ", RegularConvData[9],0);
	  logDebugD("B8 ", CellsDatabase[7].Voltage,2);

	  logDebugD("Ref ", RegularConvData[15],0);
	  logDebugD("Ucontroller:", U_Controller,2);
	  logDebugD("Battery.Voltage:", Battery.Voltage,2);

*/
	  logDebugD("T Mosfet: ",Battery.MosfetsTemperature,0);
	  logDebugD("T Balans: ",Battery.BalansirTemperature,0);
	  logDebugD("T Battery: ",Battery.BatteryTemperature,0);
	  logDebugD("Gate1Voltage_NearShunt: ",Battery.Gate1Voltage_NearShunt,2);
	  logDebugD("Gate2Voltage_NearOUT: ",Battery.Gate2Voltage_NearOUT,2);

	 // logDebugD("Rec ", vard1,0);
	 // logDebugD("snd ", vard2,0);
	 // logDebugD("int ", vard3,0);

	  //printToBufferUART2("hello");

	  //printToBufferUART1(getCharFromBufferUART1());
	 // logDebugD("charge W ",RegularConvData[1],0 );
	 // logDebugD("charge   ",Battery.Current_Charge,0 );
	 // logDebugD("load W   ",RegularConvData[2],0 );
	 // logDebugD("load     ",Battery.Current_Load,0 );
	 // logDebugD("PowerOffTimesec = ",PowerOffTimesec, 0);

	  delay_ms(1000);

  }
  /* USER CODE END 3 */
}

void SystemClock_Config(void)
{
  LL_RCC_HSE_Enable();

   /* Wait till HSE is ready */
  while(LL_RCC_HSE_IsReady() != 1)
  {

  }
  LL_RCC_PLL_ConfigDomain_SYS(LL_RCC_PLLSOURCE_HSE_DIV_1, LL_RCC_PLL_MUL_3);
  LL_RCC_PLL_Enable();

   /* Wait till PLL is ready */
  while(LL_RCC_PLL_IsReady() != 1)
  {

  }
  LL_RCC_SetAHBPrescaler(LL_RCC_SYSCLK_DIV_1);
  LL_RCC_SetAPB1Prescaler(LL_RCC_APB1_DIV_1);
  LL_RCC_SetAPB2Prescaler(LL_RCC_APB2_DIV_1);
  LL_RCC_SetSysClkSource(LL_RCC_SYS_CLKSOURCE_PLL);

   /* Wait till System clock is ready */
  while(LL_RCC_GetSysClkSource() != LL_RCC_SYS_CLKSOURCE_STATUS_PLL)
  {

  }
  LL_Init1msTick(24000000);
  LL_SetSystemCoreClock(24000000);
  LL_RCC_SetADCClockSource(LL_RCC_ADC_CLKSRC_PCLK2_DIV_2);
}

static void MX_ADC1_Init(void)
{

  LL_ADC_InitTypeDef ADC_InitStruct = {0};
  LL_ADC_REG_InitTypeDef ADC_REG_InitStruct = {0};

  LL_GPIO_InitTypeDef GPIO_InitStruct = {0};

  /* Peripheral clock enable */
  LL_APB2_GRP1_EnableClock(LL_APB2_GRP1_PERIPH_ADC1);

  LL_APB2_GRP1_EnableClock(LL_APB2_GRP1_PERIPH_GPIOC);
  LL_APB2_GRP1_EnableClock(LL_APB2_GRP1_PERIPH_GPIOA);
  LL_APB2_GRP1_EnableClock(LL_APB2_GRP1_PERIPH_GPIOB);
  /**ADC1 GPIO Configuration
  PC0   ------> ADC1_IN10
  PC1   ------> ADC1_IN11
  PC2   ------> ADC1_IN12
  PC3   ------> ADC1_IN13
  PA0-WKUP   ------> ADC1_IN0
  PA1   ------> ADC1_IN1
  PA2   ------> ADC1_IN2
  PA3   ------> ADC1_IN3
  PA4   ------> ADC1_IN4
  PA5   ------> ADC1_IN5
  PA6   ------> ADC1_IN6
  PA7   ------> ADC1_IN7
  PC5   ------> ADC1_IN15
  PB0   ------> ADC1_IN8
  PB1   ------> ADC1_IN9
  */
  GPIO_InitStruct.Pin = LL_GPIO_PIN_0|LL_GPIO_PIN_1|LL_GPIO_PIN_2|LL_GPIO_PIN_3
                          |LL_GPIO_PIN_5;
  GPIO_InitStruct.Mode = LL_GPIO_MODE_ANALOG;
  LL_GPIO_Init(GPIOC, &GPIO_InitStruct);

  GPIO_InitStruct.Pin = LL_GPIO_PIN_0|LL_GPIO_PIN_1|LL_GPIO_PIN_2|LL_GPIO_PIN_3
                          |LL_GPIO_PIN_4|LL_GPIO_PIN_5|LL_GPIO_PIN_6|LL_GPIO_PIN_7;
  GPIO_InitStruct.Mode = LL_GPIO_MODE_ANALOG;
  LL_GPIO_Init(GPIOA, &GPIO_InitStruct);

  GPIO_InitStruct.Pin = LL_GPIO_PIN_0|LL_GPIO_PIN_1;
  GPIO_InitStruct.Mode = LL_GPIO_MODE_ANALOG;
  LL_GPIO_Init(GPIOB, &GPIO_InitStruct);

  /* ADC1 DMA Init */

  /* ADC1 Init */
  LL_DMA_SetDataTransferDirection(DMA1, LL_DMA_CHANNEL_1, LL_DMA_DIRECTION_PERIPH_TO_MEMORY);

  LL_DMA_SetChannelPriorityLevel(DMA1, LL_DMA_CHANNEL_1, LL_DMA_PRIORITY_LOW);

  LL_DMA_SetMode(DMA1, LL_DMA_CHANNEL_1, LL_DMA_MODE_CIRCULAR);

  LL_DMA_SetPeriphIncMode(DMA1, LL_DMA_CHANNEL_1, LL_DMA_PERIPH_NOINCREMENT);

  LL_DMA_SetMemoryIncMode(DMA1, LL_DMA_CHANNEL_1, LL_DMA_MEMORY_INCREMENT);

  LL_DMA_SetPeriphSize(DMA1, LL_DMA_CHANNEL_1, LL_DMA_PDATAALIGN_HALFWORD);

  LL_DMA_SetMemorySize(DMA1, LL_DMA_CHANNEL_1, LL_DMA_MDATAALIGN_HALFWORD);

  /* USER CODE BEGIN ADC1_Init 1 */
  LL_DMA_ConfigAddresses(DMA1,
                           LL_DMA_CHANNEL_1,
                           LL_ADC_DMA_GetRegAddr(ADC1, LL_ADC_DMA_REG_REGULAR_DATA),
                           (uint32_t)RegularConvData,
                           LL_DMA_DIRECTION_PERIPH_TO_MEMORY);

   //LL_DMA_SetPeriphAddress(DMA1,LL_DMA_CHANNEL_1,LL_ADC_DMA_GetRegAddr(ADC1,LL_ADC_DMA_REG_REGULAR_DATA));
   //LL_DMA_SetMemoryAddress(DMA1,LL_DMA_CHANNEL_1,RegularConvData);
   LL_DMA_SetDataLength(DMA1, LL_DMA_CHANNEL_1, NUMBER_OF_CHANNELS);
   //LL_DMA_EnableIT_TC(DMA1, LL_DMA_CHANNEL_1);
   //LL_DMA_EnableIT_TE(DMA1, LL_DMA_CHANNEL_1);
   LL_DMA_EnableChannel(DMA1, LL_DMA_CHANNEL_1);
  /* USER CODE END ADC1_Init 1 */

  /** Common config
  */
  ADC_InitStruct.DataAlignment = LL_ADC_DATA_ALIGN_RIGHT;
  ADC_InitStruct.SequencersScanMode = LL_ADC_SEQ_SCAN_ENABLE;
  LL_ADC_Init(ADC1, &ADC_InitStruct);
  ADC_REG_InitStruct.TriggerSource = LL_ADC_REG_TRIG_SOFTWARE;
  ADC_REG_InitStruct.SequencerLength = LL_ADC_REG_SEQ_SCAN_ENABLE_16RANKS;
  ADC_REG_InitStruct.SequencerDiscont = LL_ADC_REG_SEQ_DISCONT_DISABLE;
  ADC_REG_InitStruct.ContinuousMode = LL_ADC_REG_CONV_CONTINUOUS;
  ADC_REG_InitStruct.DMATransfer = LL_ADC_REG_DMA_TRANSFER_UNLIMITED;
  LL_ADC_REG_Init(ADC1, &ADC_REG_InitStruct);

  /** Configure Regular Channel
  */
  LL_ADC_REG_SetSequencerRanks(ADC1, LL_ADC_REG_RANK_1, LL_ADC_CHANNEL_0);
  LL_ADC_SetChannelSamplingTime(ADC1, LL_ADC_CHANNEL_0, LL_ADC_SAMPLINGTIME_239CYCLES_5);

  /** Configure Regular Channel
  */
  LL_ADC_REG_SetSequencerRanks(ADC1, LL_ADC_REG_RANK_2, LL_ADC_CHANNEL_1);
  LL_ADC_SetChannelSamplingTime(ADC1, LL_ADC_CHANNEL_1, LL_ADC_SAMPLINGTIME_239CYCLES_5);

  /** Configure Regular Channel
  */
  LL_ADC_REG_SetSequencerRanks(ADC1, LL_ADC_REG_RANK_3, LL_ADC_CHANNEL_2);
  LL_ADC_SetChannelSamplingTime(ADC1, LL_ADC_CHANNEL_2, LL_ADC_SAMPLINGTIME_239CYCLES_5);

  /** Configure Regular Channel
  */
  LL_ADC_REG_SetSequencerRanks(ADC1, LL_ADC_REG_RANK_4, LL_ADC_CHANNEL_3);
  LL_ADC_SetChannelSamplingTime(ADC1, LL_ADC_CHANNEL_3, LL_ADC_SAMPLINGTIME_239CYCLES_5);

  /** Configure Regular Channel
  */
  LL_ADC_REG_SetSequencerRanks(ADC1, LL_ADC_REG_RANK_5, LL_ADC_CHANNEL_4);
  LL_ADC_SetChannelSamplingTime(ADC1, LL_ADC_CHANNEL_4, LL_ADC_SAMPLINGTIME_239CYCLES_5);

  /** Configure Regular Channel
  */
  LL_ADC_REG_SetSequencerRanks(ADC1, LL_ADC_REG_RANK_6, LL_ADC_CHANNEL_5);
  LL_ADC_SetChannelSamplingTime(ADC1, LL_ADC_CHANNEL_5, LL_ADC_SAMPLINGTIME_239CYCLES_5);

  /** Configure Regular Channel
  */
  LL_ADC_REG_SetSequencerRanks(ADC1, LL_ADC_REG_RANK_7, LL_ADC_CHANNEL_6);
  LL_ADC_SetChannelSamplingTime(ADC1, LL_ADC_CHANNEL_6, LL_ADC_SAMPLINGTIME_239CYCLES_5);

  /** Configure Regular Channel
  */
  LL_ADC_REG_SetSequencerRanks(ADC1, LL_ADC_REG_RANK_8, LL_ADC_CHANNEL_7);
  LL_ADC_SetChannelSamplingTime(ADC1, LL_ADC_CHANNEL_7, LL_ADC_SAMPLINGTIME_239CYCLES_5);

  /** Configure Regular Channel
  */
  LL_ADC_REG_SetSequencerRanks(ADC1, LL_ADC_REG_RANK_9, LL_ADC_CHANNEL_8);
  LL_ADC_SetChannelSamplingTime(ADC1, LL_ADC_CHANNEL_8, LL_ADC_SAMPLINGTIME_239CYCLES_5);

  /** Configure Regular Channel
  */
  LL_ADC_REG_SetSequencerRanks(ADC1, LL_ADC_REG_RANK_10, LL_ADC_CHANNEL_9);
  LL_ADC_SetChannelSamplingTime(ADC1, LL_ADC_CHANNEL_9, LL_ADC_SAMPLINGTIME_239CYCLES_5);

  /** Configure Regular Channel
  */
  LL_ADC_REG_SetSequencerRanks(ADC1, LL_ADC_REG_RANK_11, LL_ADC_CHANNEL_10);
  LL_ADC_SetChannelSamplingTime(ADC1, LL_ADC_CHANNEL_10, LL_ADC_SAMPLINGTIME_239CYCLES_5);

  /** Configure Regular Channel
  */
  LL_ADC_REG_SetSequencerRanks(ADC1, LL_ADC_REG_RANK_12, LL_ADC_CHANNEL_11);
  LL_ADC_SetChannelSamplingTime(ADC1, LL_ADC_CHANNEL_11, LL_ADC_SAMPLINGTIME_239CYCLES_5);

  /** Configure Regular Channel
  */
  LL_ADC_REG_SetSequencerRanks(ADC1, LL_ADC_REG_RANK_13, LL_ADC_CHANNEL_12);
  LL_ADC_SetChannelSamplingTime(ADC1, LL_ADC_CHANNEL_12, LL_ADC_SAMPLINGTIME_239CYCLES_5);

  /** Configure Regular Channel
  */
  LL_ADC_REG_SetSequencerRanks(ADC1, LL_ADC_REG_RANK_14, LL_ADC_CHANNEL_13);
  LL_ADC_SetChannelSamplingTime(ADC1, LL_ADC_CHANNEL_13, LL_ADC_SAMPLINGTIME_239CYCLES_5);

  /** Configure Regular Channel
  */
  LL_ADC_REG_SetSequencerRanks(ADC1, LL_ADC_REG_RANK_15, LL_ADC_CHANNEL_15);
  LL_ADC_SetChannelSamplingTime(ADC1, LL_ADC_CHANNEL_15, LL_ADC_SAMPLINGTIME_239CYCLES_5);

  /** Configure Regular Channel
  */
  LL_ADC_REG_SetSequencerRanks(ADC1, LL_ADC_REG_RANK_16, LL_ADC_CHANNEL_VREFINT);
  LL_ADC_SetChannelSamplingTime(ADC1, LL_ADC_CHANNEL_VREFINT, LL_ADC_SAMPLINGTIME_239CYCLES_5);
  LL_ADC_SetCommonPathInternalCh(__LL_ADC_COMMON_INSTANCE(ADC1), LL_ADC_PATH_INTERNAL_VREFINT);
  /* USER CODE BEGIN ADC1_Init 2 */
	 LL_ADC_Enable(ADC1);
	  delay_ms(100);
	  LL_ADC_StartCalibration(ADC1);
	  while (LL_ADC_IsCalibrationOnGoing(ADC1) != 0) {}
	  LL_ADC_REG_StartConversionSWStart(ADC1);
  /* USER CODE END ADC1_Init 2 */

}

static void MX_TIM7_Init(void)
{

  LL_TIM_InitTypeDef TIM_InitStruct = {0};

  /* Peripheral clock enable */
  LL_APB1_GRP1_EnableClock(LL_APB1_GRP1_PERIPH_TIM7);

  /* TIM7 interrupt Init */
  NVIC_SetPriority(TIM7_IRQn, NVIC_EncodePriority(NVIC_GetPriorityGrouping(),0, 0));
  NVIC_EnableIRQ(TIM7_IRQn);

  TIM_InitStruct.Prescaler = 24000;
  TIM_InitStruct.CounterMode = LL_TIM_COUNTERMODE_UP;
  TIM_InitStruct.Autoreload = 10;
  LL_TIM_Init(TIM7, &TIM_InitStruct);
  LL_TIM_DisableARRPreload(TIM7);
  LL_TIM_SetTriggerOutput(TIM7, LL_TIM_TRGO_UPDATE);
  LL_TIM_DisableMasterSlaveMode(TIM7);
  /* USER CODE BEGIN TIM7_Init 2 */
  LL_TIM_EnableCounter(TIM7);
  LL_TIM_EnableIT_UPDATE(TIM7);
  /* USER CODE END TIM7_Init 2 */

}

static void MX_USART1_UART_Init(void)
{

  LL_USART_InitTypeDef USART_InitStruct = {0};

  LL_GPIO_InitTypeDef GPIO_InitStruct = {0};

  /* Peripheral clock enable */
  LL_APB2_GRP1_EnableClock(LL_APB2_GRP1_PERIPH_USART1);

  LL_APB2_GRP1_EnableClock(LL_APB2_GRP1_PERIPH_GPIOA);
  /**USART1 GPIO Configuration
  PA9   ------> USART1_TX
  PA10   ------> USART1_RX
  */
  GPIO_InitStruct.Pin = LL_GPIO_PIN_9;
  GPIO_InitStruct.Mode = LL_GPIO_MODE_ALTERNATE;
  GPIO_InitStruct.Speed = LL_GPIO_SPEED_FREQ_HIGH;
  GPIO_InitStruct.OutputType = LL_GPIO_OUTPUT_PUSHPULL;
  LL_GPIO_Init(GPIOA, &GPIO_InitStruct);

  GPIO_InitStruct.Pin = LL_GPIO_PIN_10;
  GPIO_InitStruct.Mode = LL_GPIO_MODE_FLOATING;
  LL_GPIO_Init(GPIOA, &GPIO_InitStruct);

  /* USART1 interrupt Init */
  NVIC_SetPriority(USART1_IRQn, NVIC_EncodePriority(NVIC_GetPriorityGrouping(),0, 0));
  NVIC_EnableIRQ(USART1_IRQn);

  USART_InitStruct.BaudRate = 38400;
  USART_InitStruct.DataWidth = LL_USART_DATAWIDTH_8B;
  USART_InitStruct.StopBits = LL_USART_STOPBITS_1;
  USART_InitStruct.Parity = LL_USART_PARITY_NONE;
  USART_InitStruct.TransferDirection = LL_USART_DIRECTION_TX_RX;
  USART_InitStruct.HardwareFlowControl = LL_USART_HWCONTROL_NONE;
  USART_InitStruct.OverSampling = LL_USART_OVERSAMPLING_16;
  LL_USART_Init(USART1, &USART_InitStruct);
  LL_USART_ConfigAsyncMode(USART1);
  LL_USART_Enable(USART1);
  /* USER CODE BEGIN USART1_Init 2 */
  LL_USART_EnableIT_TXE(USART1);
  // LL_USART_EnableIT_RXNE(USART1);
  /* USER CODE END USART1_Init 2 */

}

static void MX_USART3_UART_Init(void)
{

  LL_USART_InitTypeDef USART_InitStruct = {0};

  LL_GPIO_InitTypeDef GPIO_InitStruct = {0};

  /* Peripheral clock enable */
  LL_APB1_GRP1_EnableClock(LL_APB1_GRP1_PERIPH_USART3);

  LL_APB2_GRP1_EnableClock(LL_APB2_GRP1_PERIPH_GPIOB);
  /**USART3 GPIO Configuration
  PB10   ------> USART3_TX
  PB11   ------> USART3_RX
  */
  GPIO_InitStruct.Pin = LL_GPIO_PIN_10;
  GPIO_InitStruct.Mode = LL_GPIO_MODE_ALTERNATE;
  GPIO_InitStruct.Speed = LL_GPIO_SPEED_FREQ_HIGH;
  GPIO_InitStruct.OutputType = LL_GPIO_OUTPUT_PUSHPULL;
  LL_GPIO_Init(GPIOB, &GPIO_InitStruct);

  GPIO_InitStruct.Pin = LL_GPIO_PIN_11;
  GPIO_InitStruct.Mode = LL_GPIO_MODE_FLOATING;
  LL_GPIO_Init(GPIOB, &GPIO_InitStruct);

  /* USART3 interrupt Init */
  NVIC_SetPriority(USART3_IRQn, NVIC_EncodePriority(NVIC_GetPriorityGrouping(),0, 0));
  NVIC_EnableIRQ(USART3_IRQn);

  USART_InitStruct.BaudRate = 38400;
  USART_InitStruct.DataWidth = LL_USART_DATAWIDTH_8B;
  USART_InitStruct.StopBits = LL_USART_STOPBITS_1;
  USART_InitStruct.Parity = LL_USART_PARITY_NONE;
  USART_InitStruct.TransferDirection = LL_USART_DIRECTION_TX_RX;
  USART_InitStruct.HardwareFlowControl = LL_USART_HWCONTROL_NONE;
  USART_InitStruct.OverSampling = LL_USART_OVERSAMPLING_16;
  LL_USART_Init(USART3, &USART_InitStruct);
  LL_USART_ConfigAsyncMode(USART3);
  LL_USART_Enable(USART3);
  /* USER CODE BEGIN USART3_Init 2 */
  //LL_USART_EnableIT_TXE(USART3);

  LL_USART_EnableIT_TXE(USART3);
    LL_USART_EnableIT_RXNE(USART3);
  /* USER CODE END USART3_Init 2 */

}

static void MX_DMA_Init(void)
{

  /* Init with LL driver */
  /* DMA controller clock enable */
  LL_AHB1_GRP1_EnableClock(LL_AHB1_GRP1_PERIPH_DMA1);

  /* DMA interrupt init */
  /* DMA1_Channel1_IRQn interrupt configuration */
  NVIC_SetPriority(DMA1_Channel1_IRQn, NVIC_EncodePriority(NVIC_GetPriorityGrouping(),0, 0));
  NVIC_EnableIRQ(DMA1_Channel1_IRQn);

}

static void MX_GPIO_Init(void)
{
  LL_GPIO_InitTypeDef GPIO_InitStruct = {0};

  /* GPIO Ports Clock Enable */
  LL_APB2_GRP1_EnableClock(LL_APB2_GRP1_PERIPH_GPIOD);
  LL_APB2_GRP1_EnableClock(LL_APB2_GRP1_PERIPH_GPIOC);
  LL_APB2_GRP1_EnableClock(LL_APB2_GRP1_PERIPH_GPIOA);
  LL_APB2_GRP1_EnableClock(LL_APB2_GRP1_PERIPH_GPIOB);

  /**/
  LL_GPIO_ResetOutputPin(GPIOB, LL_GPIO_PIN_12|LL_GPIO_PIN_13|LL_GPIO_PIN_14|LL_GPIO_PIN_15
                          |LL_GPIO_PIN_3|LL_GPIO_PIN_4|LL_GPIO_PIN_5|LL_GPIO_PIN_8);

  /**/
  LL_GPIO_ResetOutputPin(GPIOC, LL_GPIO_PIN_6|LL_GPIO_PIN_7|LL_GPIO_PIN_9|LL_GPIO_PIN_11
                          |LL_GPIO_PIN_12);

  /**/
  LL_GPIO_ResetOutputPin(GPIOA, LL_GPIO_PIN_8|LL_GPIO_PIN_11|LL_GPIO_PIN_12);

  /**/
  LL_GPIO_ResetOutputPin(GPIOD, LL_GPIO_PIN_2);

  /**/
  GPIO_InitStruct.Pin = LL_GPIO_PIN_12|LL_GPIO_PIN_13|LL_GPIO_PIN_14|LL_GPIO_PIN_15
                          |LL_GPIO_PIN_3|LL_GPIO_PIN_4|LL_GPIO_PIN_5|LL_GPIO_PIN_8;
  GPIO_InitStruct.Mode = LL_GPIO_MODE_OUTPUT;
  GPIO_InitStruct.Speed = LL_GPIO_SPEED_FREQ_LOW;
  GPIO_InitStruct.OutputType = LL_GPIO_OUTPUT_PUSHPULL;
  LL_GPIO_Init(GPIOB, &GPIO_InitStruct);

  /**/
  GPIO_InitStruct.Pin = LL_GPIO_PIN_6|LL_GPIO_PIN_7|LL_GPIO_PIN_9|LL_GPIO_PIN_11
                          |LL_GPIO_PIN_12;
  GPIO_InitStruct.Mode = LL_GPIO_MODE_OUTPUT;
  GPIO_InitStruct.Speed = LL_GPIO_SPEED_FREQ_LOW;
  GPIO_InitStruct.OutputType = LL_GPIO_OUTPUT_PUSHPULL;
  LL_GPIO_Init(GPIOC, &GPIO_InitStruct);

  /**/
  GPIO_InitStruct.Pin = LL_GPIO_PIN_8;
  GPIO_InitStruct.Mode = LL_GPIO_MODE_FLOATING;
  LL_GPIO_Init(GPIOC, &GPIO_InitStruct);

  /**/
  GPIO_InitStruct.Pin = LL_GPIO_PIN_8|LL_GPIO_PIN_11|LL_GPIO_PIN_12;
  GPIO_InitStruct.Mode = LL_GPIO_MODE_OUTPUT;
  GPIO_InitStruct.Speed = LL_GPIO_SPEED_FREQ_LOW;
  GPIO_InitStruct.OutputType = LL_GPIO_OUTPUT_PUSHPULL;
  LL_GPIO_Init(GPIOA, &GPIO_InitStruct);

  /**/
  GPIO_InitStruct.Pin = LL_GPIO_PIN_10;
  GPIO_InitStruct.Mode = LL_GPIO_MODE_INPUT;
  GPIO_InitStruct.Pull = LL_GPIO_PULL_UP;
  LL_GPIO_Init(GPIOC, &GPIO_InitStruct);

  /**/
  GPIO_InitStruct.Pin = LL_GPIO_PIN_2;
  GPIO_InitStruct.Mode = LL_GPIO_MODE_OUTPUT;
  GPIO_InitStruct.Speed = LL_GPIO_SPEED_FREQ_LOW;
  GPIO_InitStruct.OutputType = LL_GPIO_OUTPUT_PUSHPULL;
  LL_GPIO_Init(GPIOD, &GPIO_InitStruct);

}

void Error_Handler(void)
{
  __disable_irq();
  while (1)
  {
  }
}
